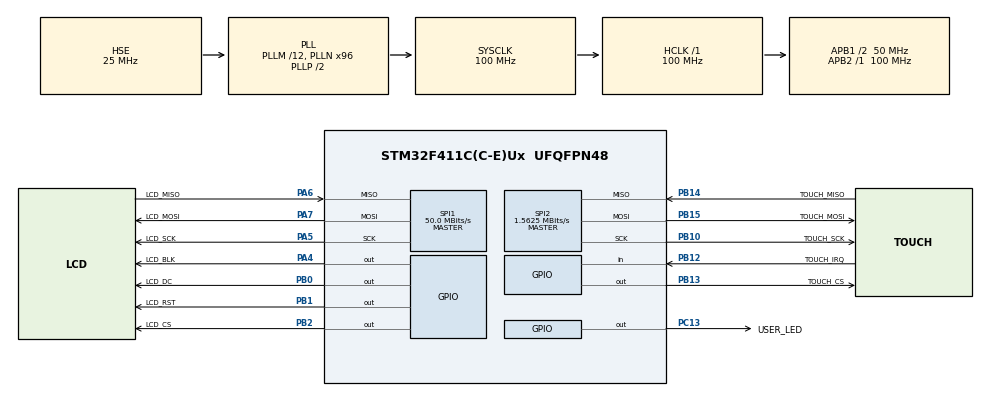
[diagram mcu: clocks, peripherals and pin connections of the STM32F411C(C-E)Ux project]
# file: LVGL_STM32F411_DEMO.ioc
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Dma.Request0=SPI1_TX
Dma.SPI1_TX.0.Direction=DMA_MEMORY_TO_PERIPH
Dma.SPI1_TX.0.FIFOMode=DMA_FIFOMODE_DISABLE
Dma.SPI1_TX.0.Instance=DMA2_Stream3
Dma.SPI1_TX.0.MemDataAlignment=DMA_MDATAALIGN_BYTE
Dma.SPI1_TX.0.MemInc=DMA_MINC_ENABLE
Dma.SPI1_TX.0.Mode=DMA_NORMAL
Dma.SPI1_TX.0.PeriphDataAlignment=DMA_PDATAALIGN_BYTE
Dma.SPI1_TX.0.PeriphInc=DMA_PINC_DISABLE
Dma.SPI1_TX.0.Priority=DMA_PRIORITY_VERY_HIGH
Mcu.Family=STM32F4
Mcu.Name=STM32F411C(C-E)Ux
Mcu.Package=UFQFPN48
NVIC.DMA2_Stream3_IRQn=true\:1\:0\:true\:false\:true\:false\:true
NVIC.PriorityGroup=NVIC_PRIORITYGROUP_4
NVIC.TIM3_IRQn=true\:1\:0\:true\:false\:true\:true\:true
PA13.Mode=Serial_Wire
PA13.Signal=SYS_JTMS-SWDIO
PA14.Mode=Serial_Wire
PA14.Signal=SYS_JTCK-SWCLK
PA4.GPIO_Label=LCD_BLK
PA4.GPIO_ModeDefaultOutputPP=GPIO_MODE_OUTPUT_PP
PA4.GPIO_PuPd=GPIO_NOPULL
PA4.GPIO_Speed=GPIO_SPEED_FREQ_VERY_HIGH
PA4.PinState=GPIO_PIN_RESET
PA4.Signal=GPIO_Output
PA5.GPIO_Label=LCD_SCK
PA5.Mode=Full_Duplex_Master
PA5.Signal=SPI1_SCK
PA6.GPIO_Label=LCD_MISO
PA6.Mode=Full_Duplex_Master
PA6.Signal=SPI1_MISO
PA7.GPIO_Label=LCD_MOSI
PA7.Mode=Full_Duplex_Master
PA7.Signal=SPI1_MOSI
PB0.GPIO_Label=LCD_DC
PB0.GPIO_ModeDefaultOutputPP=GPIO_MODE_OUTPUT_PP
PB0.GPIO_PuPd=GPIO_NOPULL
PB0.GPIO_Speed=GPIO_SPEED_FREQ_VERY_HIGH
PB0.PinState=GPIO_PIN_SET
PB0.Signal=GPIO_Output
PB1.GPIO_Label=LCD_RST
PB1.GPIO_ModeDefaultOutputPP=GPIO_MODE_OUTPUT_PP
PB1.GPIO_PuPd=GPIO_NOPULL
PB1.GPIO_Speed=GPIO_SPEED_FREQ_VERY_HIGH
PB1.PinState=GPIO_PIN_SET
PB1.Signal=GPIO_Output
PB10.GPIO_Label=TOUCH_SCK
PB10.Mode=Full_Duplex_Master
PB10.Signal=SPI2_SCK
PB12.GPIO_Label=TOUCH_IRQ
PB12.Signal=GPIO_Input
PB13.GPIO_Label=TOUCH_CS
PB13.Signal=GPIO_Output
PB14.GPIO_Label=TOUCH_MISO
PB14.Mode=Full_Duplex_Master
PB14.Signal=SPI2_MISO
PB15.GPIO_Label=TOUCH_MOSI
PB15.Mode=Full_Duplex_Master
PB15.Signal=SPI2_MOSI
PB2.GPIO_Label=LCD_CS
PB2.GPIO_ModeDefaultOutputPP=GPIO_MODE_OUTPUT_PP
PB2.GPIO_PuPd=GPIO_NOPULL
PB2.GPIO_Speed=GPIO_SPEED_FREQ_VERY_HIGH
PB2.PinState=GPIO_PIN_SET
PB2.Signal=GPIO_Output
PC13-ANTI_TAMP.GPIO_Label=USER_LED
PC13-ANTI_TAMP.GPIO_ModeDefaultOutputPP=GPIO_MODE_OUTPUT_OD
PC13-ANTI_TAMP.GPIO_Speed=GPIO_SPEED_FREQ_LOW
PC13-ANTI_TAMP.PinState=GPIO_PIN_SET
PC13-ANTI_TAMP.Signal=GPIO_Output
PH0\ -\ OSC_IN.Mode=HSE-External-Oscillator
PH0\ -\ OSC_IN.Signal=RCC_OSC_IN
PH1\ -\ OSC_OUT.Mode=HSE-External-Oscillator
PH1\ -\ OSC_OUT.Signal=RCC_OSC_OUT
ProjectManager.HeapSize=0x200
ProjectManager.StackSize=0x400
ProjectManager.TargetToolchain=STM32CubeIDE
RCC.48MHZClocksFreq_Value=50000000
RCC.AHBFreq_Value=100000000
RCC.APB1CLKDivider=RCC_HCLK_DIV2
RCC.APB1Freq_Value=50000000
RCC.APB1TimFreq_Value=100000000
RCC.APB2Freq_Value=100000000
RCC.APB2TimFreq_Value=100000000
RCC.CortexFreq_Value=100000000
RCC.EnbaleCSS=true
RCC.HCLKFreq_Value=100000000
RCC.HSE_VALUE=25000000
RCC.HSI_VALUE=16000000
RCC.LSE_VALUE=32768
RCC.PLLM=12
RCC.PLLN=96
RCC.PLLSourceVirtual=RCC_PLLSOURCE_HSE
RCC.SYSCLKFreq_VALUE=100000000
RCC.SYSCLKSource=RCC_SYSCLKSOURCE_PLLCLK
RCC.VCOOutputFreq_Value=200000000
SPI1.BaudRatePrescaler=SPI_BAUDRATEPRESCALER_2
SPI1.CalculateBaudRate=50.0 MBits/s
SPI1.Direction=SPI_DIRECTION_2LINES
SPI1.Mode=SPI_MODE_MASTER
SPI1.VirtualType=VM_MASTER
SPI2.BaudRatePrescaler=SPI_BAUDRATEPRESCALER_32
SPI2.CalculateBaudRate=1.5625 MBits/s
SPI2.Direction=SPI_DIRECTION_2LINES
SPI2.Mode=SPI_MODE_MASTER
SPI2.VirtualType=VM_MASTER
TIM3.Period=4999
TIM3.Prescaler=99
VP_TIM3_VS_ClockSourceINT.Mode=Internal
board=custom

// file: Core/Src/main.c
/* USER CODE BEGIN Header */
/**
  ******************************************************************************
  * @file           : main.c
  * @brief          : Main program body
  ******************************************************************************
  * @attention
  *
  * <h2><center>&copy; Copyright (c) 2021 STMicroelectronics.
  * All rights reserved.</center></h2>
  *
  * This software component is licensed by ST under BSD 3-Clause license,
  * the "License"; You may not use this file except in compliance with the
  * License. You may obtain a copy of the License at:
  *                        opensource.org/licenses/BSD-3-Clause
  *
  ******************************************************************************
  */
/* USER CODE END Header */
#include "main.h"
#include "dma.h"
#include "spi.h"
#include "tim.h"
#include "gpio.h"

/* USER CODE BEGIN Includes */
#include "lvgl/lvgl.h"
#include "hal_stm_lvgl/tft/tft.h"
#include "hal_stm_lvgl/touch/touchpad.h"
#include "lv_examples.h"
/* USER CODE END Includes */

void SystemClock_Config(void);

int main(void)
{

  /* MCU Configuration--------------------------------------------------------*/

  /* Reset of all peripherals, Initializes the Flash interface and the Systick. */
  HAL_Init();

  /* Configure the system clock */
  SystemClock_Config();

  /* Initialize all configured peripherals */
  MX_GPIO_Init();
  MX_DMA_Init();
  MX_SPI1_Init();
  MX_TIM3_Init();
  MX_SPI2_Init();
  /* USER CODE BEGIN 2 */

  lv_init();
  tft_init();
  touchpad_init();

  lv_demo_widgets();

  HAL_TIM_Base_Start_IT(&htim3);

  /* USER CODE END 2 */

  /* Infinite loop */
  /* USER CODE BEGIN WHILE */
  while (1)
  {
	  HAL_Delay(25);
	  lv_task_handler();
	  HAL_GPIO_TogglePin(USER_LED_GPIO_Port, USER_LED_Pin);
	  //ILI9341_Test();
	  //HAL_GPIO_TogglePin(USER_LED_GPIO_Port, USER_LED_Pin);

    /* USER CODE END WHILE */

  }
}

void SystemClock_Config(void)
{
  RCC_OscInitTypeDef RCC_OscInitStruct = {0};
  RCC_ClkInitTypeDef RCC_ClkInitStruct = {0};

  /** Configure the main internal regulator output voltage
  */
  __HAL_RCC_PWR_CLK_ENABLE();
  __HAL_PWR_VOLTAGESCALING_CONFIG(PWR_REGULATOR_VOLTAGE_SCALE1);
  /** Initializes the RCC Oscillators according to the specified parameters
  * in the RCC_OscInitTypeDef structure.
  */
  RCC_OscInitStruct.OscillatorType = RCC_OSCILLATORTYPE_HSE;
  RCC_OscInitStruct.HSEState = RCC_HSE_ON;
  RCC_OscInitStruct.PLL.PLLState = RCC_PLL_ON;
  RCC_OscInitStruct.PLL.PLLSource = RCC_PLLSOURCE_HSE;
  RCC_OscInitStruct.PLL.PLLM = 12;
  RCC_OscInitStruct.PLL.PLLN = 96;
  RCC_OscInitStruct.PLL.PLLP = RCC_PLLP_DIV2;
  RCC_OscInitStruct.PLL.PLLQ = 4;
  if (HAL_RCC_OscConfig(&RCC_OscInitStruct) != HAL_OK)
  {
    Error_Handler();
  }
  /** Initializes the CPU, AHB and APB buses clocks
  */
  RCC_ClkInitStruct.ClockType = RCC_CLOCKTYPE_HCLK|RCC_CLOCKTYPE_SYSCLK
                              |RCC_CLOCKTYPE_PCLK1|RCC_CLOCKTYPE_PCLK2;
  RCC_ClkInitStruct.SYSCLKSource = RCC_SYSCLKSOURCE_PLLCLK;
  RCC_ClkInitStruct.AHBCLKDivider = RCC_SYSCLK_DIV1;
  RCC_ClkInitStruct.APB1CLKDivider = RCC_HCLK_DIV2;
  RCC_ClkInitStruct.APB2CLKDivider = RCC_HCLK_DIV1;

  if (HAL_RCC_ClockConfig(&RCC_ClkInitStruct, FLASH_LATENCY_3) != HAL_OK)
  {
    Error_Handler();
  }
  /** Enables the Clock Security System
  */
  HAL_RCC_EnableCSS();
}

/* USER CODE BEGIN 4 */
void HAL_TIM_PeriodElapsedCallback(TIM_HandleTypeDef *htim)
{
  /* Prevent unused argument(s) compilation warning */
  UNUSED(htim);

	if(htim->Instance == TIM3)
	{
		lv_tick_inc(5);      /*Tell LVGL that 5 milliseconds were elapsed*/
	}

  /* NOTE : This function should not be modified, when the callback is needed,
            the HAL_TIM_PeriodElapsedCallback could be implemented in the user file
   */
}

/* USER CODE END 4 */

void Error_Handler(void)
{
  __disable_irq();
  while (1)
  {
  }
}

/************************ (C) COPYRIGHT STMicroelectronics *****END OF FILE****/
